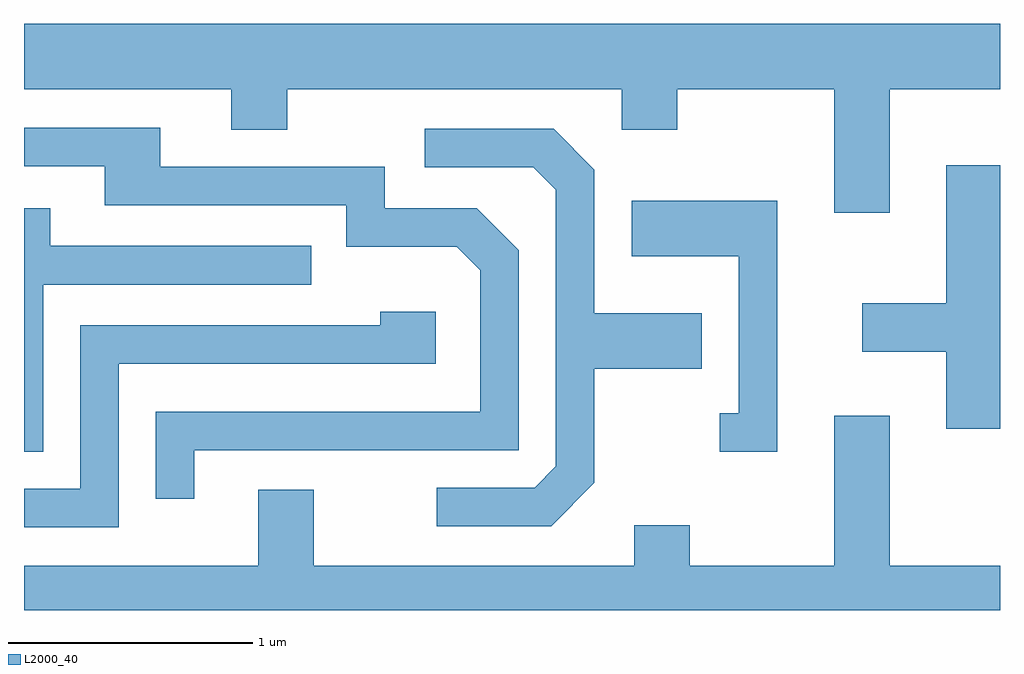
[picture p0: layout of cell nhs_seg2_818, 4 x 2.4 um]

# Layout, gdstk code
import gdstk
lib = gdstk.Library(unit=1e-6, precision=1e-09)
def P(c, l, *ps):  # polygons
    for p in ps: c.add(gdstk.Polygon(p, *l))
L2000_40 = (2000, 40)

nhs_seg2_818 = lib.new_cell('nhs_seg2_818')
P(nhs_seg2_818, L2000_40, [(213.159,983.936),(213.611,983.936),(213.611,984.204),(209.611,984.204),(209.611,983.936),(210.461,983.936),(210.461,983.771),(210.689,983.771),(210.689,983.936),(212.061,983.936),(212.061,983.771),(212.289,983.771),(212.289,983.936),(212.931,983.936),(212.931,983.431),(213.159,983.431)],
  [(210.309,982.456),(211.639,982.456),(211.639,983.277),(211.467,983.449),(211.089,983.449),(211.089,983.619),(210.169,983.619),(210.169,983.779),(209.611,983.779),(209.611,983.621),(209.941,983.621),(209.941,983.461),(210.931,983.461),(210.931,983.291),(211.384,983.291),(211.481,983.194),(211.481,982.614),(210.151,982.614),(210.151,982.258),(210.309,982.258)],
  [(211.949,982.324),(211.949,982.791),(212.389,982.791),(212.389,983.019),(211.949,983.019),(211.949,983.607),(211.782,983.774),(211.253,983.774),(211.253,983.616),(211.699,983.616),(211.791,983.524),(211.791,982.392),(211.704,982.304),(211.303,982.304),(211.303,982.146),(211.772,982.146)],
  [(213.611,983.624),(213.391,983.624),(213.391,983.059),(213.046,983.059),(213.046,982.861),(213.391,982.861),(213.391,982.546),(213.611,982.546)],
  [(212.699,983.479),(212.101,983.479),(212.101,983.251),(212.541,983.251),(212.541,982.609),(212.463,982.609),(212.463,982.451),(212.699,982.451)],
  [(209.689,983.136),(210.788,983.136),(210.788,983.294),(209.719,983.294),(209.719,983.449),(209.611,983.449),(209.611,982.451),(209.689,982.451)],
  [(209.999,982.811),(211.299,982.811),(211.299,983.024),(211.071,983.024),(211.071,982.969),(209.841,982.969),(209.841,982.299),(209.611,982.299),(209.611,982.141),(209.999,982.141)],
  [(213.611,981.984),(213.159,981.984),(213.159,982.599),(212.931,982.599),(212.931,981.984),(212.339,981.984),(212.339,982.149),(212.111,982.149),(212.111,981.984),(210.799,981.984),(210.799,982.294),(210.571,982.294),(210.571,981.984),(209.611,981.984),(209.611,981.802),(213.611,981.802)])

lib.write_gds('nhs_seg2_818.gds')
